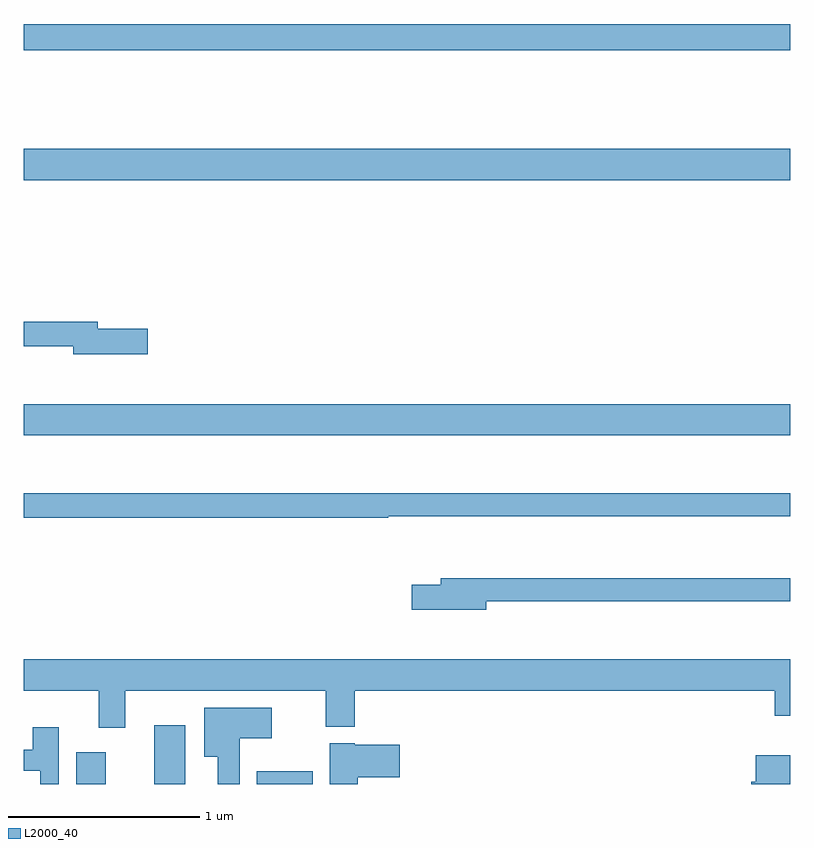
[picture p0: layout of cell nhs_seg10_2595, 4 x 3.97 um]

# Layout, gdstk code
import gdstk
lib = gdstk.Library(unit=1e-6, precision=1e-09)
def R(c, l, rs):  # rectangles x0, y0, x1, y1
    for r in rs: c.add(gdstk.rectangle(r[:2], r[2:], *l))
def P(c, l, *ps):  # polygons
    for p in ps: c.add(gdstk.Polygon(p, *l))
L2000_40 = (2000, 40)

nhs_seg10_2595 = lib.new_cell('nhs_seg10_2595')
R(nhs_seg10_2595, L2000_40, [(251.273,1294.5,251.428,1294.666), (251.681,1294.5,251.842,1294.807), (252.215,1294.5,252.508,1294.567), (251,1296.32,255,1296.484), (251,1297.652,255,1297.816), (251,1298.332,255,1298.468)])
P(nhs_seg10_2595, L2000_40, [(251.647,1296.878),(251.386,1296.878),(251.386,1296.914),(251,1296.914),(251,1296.786),(251.258,1296.786),(251.258,1296.743),(251.647,1296.743)],
  [(252.902,1295.898),(255,1295.898),(255,1296.019),(251,1296.019),(251,1295.89),(252.902,1295.89)],
  [(253.414,1295.454),(255,1295.454),(255,1295.575),(253.175,1295.575),(253.175,1295.541),(253.026,1295.541),(253.026,1295.411),(253.414,1295.411)],
  [(251.53,1294.988),(252.575,1294.988),(252.575,1294.799),(252.728,1294.799),(252.728,1294.988),(254.921,1294.988),(254.921,1294.857),(255,1294.857),(255,1295.152),(251,1295.152),(251,1294.988),(251.39,1294.988),(251.39,1294.794),(251.53,1294.794)],
  [(252.127,1294.739),(252.295,1294.739),(252.295,1294.897),(251.942,1294.897),(251.942,1294.643),(252.011,1294.643),(252.011,1294.5),(252.127,1294.5)],
  [(251.181,1294.795),(251.045,1294.795),(251.045,1294.678),(251,1294.678),(251,1294.569),(251.085,1294.569),(251.085,1294.5),(251.181,1294.5)],
  [(252.743,1294.535),(252.961,1294.535),(252.961,1294.705),(252.726,1294.705),(252.726,1294.714),(252.596,1294.714),(252.596,1294.5),(252.743,1294.5)],
  [(255,1294.651),(254.822,1294.651),(254.822,1294.512),(254.798,1294.512),(254.798,1294.5),(255,1294.5)])

lib.write_gds('nhs_seg10_2595.gds')
